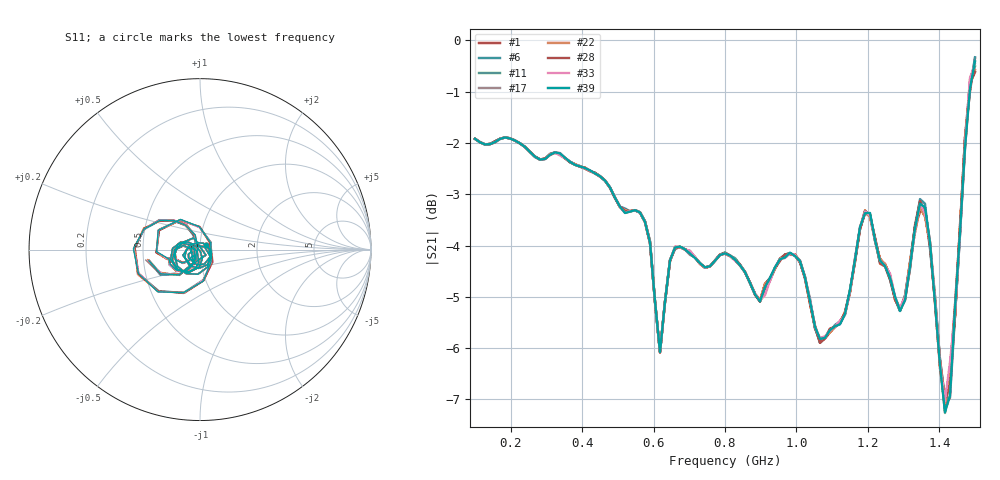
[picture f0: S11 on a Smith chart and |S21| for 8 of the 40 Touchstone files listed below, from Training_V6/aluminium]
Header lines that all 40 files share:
! NanoVNA-App
! Start: 100MHz Stop: 1,5GHz Points: 101
! S-Parameter data: F S11 S21 S12 S22
# Hz S RI R 50
!  Frequency  S11_Real  S11_Imag  S21_Real  S21_Imag  S12_Real  S12_Imag  S22_Real  S22_Imag
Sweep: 100 MHz to 1.5 GHz
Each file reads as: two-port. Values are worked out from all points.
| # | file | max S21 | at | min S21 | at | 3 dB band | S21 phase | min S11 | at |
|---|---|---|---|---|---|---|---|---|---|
| 1 | aluminium (401).s2p | -0.35 dB | 1.5 GHz | -7.0 dB | 1.416 GHz | 100 MHz-548 MHz | 127 deg at 800 MHz | -38.6 dB | 870 MHz |
| 2 | aluminium (402).s2p | -0.57 dB | 1.5 GHz | -7.2 dB | 1.416 GHz | 100 MHz-576 MHz | 127 deg at 800 MHz | -39.2 dB | 870 MHz |
| 3 | aluminium (403).s2p | -0.37 dB | 1.5 GHz | -7.2 dB | 1.416 GHz | 100 MHz-562 MHz | 127 deg at 800 MHz | -39.0 dB | 870 MHz |
| 4 | aluminium (404).s2p | -0.51 dB | 1.5 GHz | -7.2 dB | 1.416 GHz | 100 MHz-562 MHz | 127 deg at 800 MHz | -39.2 dB | 870 MHz |
| 5 | aluminium (405).s2p | -0.42 dB | 1.5 GHz | -7.0 dB | 1.416 GHz | 100 MHz-562 MHz | 127 deg at 800 MHz | -39.0 dB | 870 MHz |
| 6 | aluminium (406).s2p | -0.33 dB | 1.5 GHz | -7.0 dB | 1.416 GHz | 100 MHz-520 MHz | 127 deg at 800 MHz | -39.1 dB | 870 MHz |
| 7 | aluminium (407).s2p | -0.37 dB | 1.5 GHz | -7.1 dB | 1.416 GHz | 100 MHz-562 MHz | 127 deg at 800 MHz | -39.1 dB | 870 MHz |
| 8 | aluminium (408).s2p | -0.37 dB | 1.5 GHz | -7.0 dB | 1.416 GHz | 100 MHz-562 MHz | 127 deg at 800 MHz | -39.2 dB | 870 MHz |
| 9 | aluminium (409).s2p | -0.56 dB | 1.5 GHz | -7.1 dB | 1.416 GHz | 100 MHz-576 MHz | 127 deg at 800 MHz | -38.7 dB | 870 MHz |
| 10 | aluminium (410).s2p | -0.51 dB | 1.5 GHz | -7.1 dB | 1.416 GHz | 100 MHz-562 MHz | 127 deg at 800 MHz | -39.8 dB | 1.444 GHz |
| 11 | aluminium (411).s2p | -0.51 dB | 1.5 GHz | -7.3 dB | 1.416 GHz | 100 MHz-562 MHz | 127 deg at 800 MHz | -39.0 dB | 870 MHz |
| 12 | aluminium (412).s2p | -0.65 dB | 1.5 GHz | -7.1 dB | 1.416 GHz | 100 MHz-576 MHz | 127 deg at 800 MHz | -39.1 dB | 870 MHz |
| 13 | aluminium (413).s2p | -0.56 dB | 1.5 GHz | -7.0 dB | 1.416 GHz | 100 MHz-576 MHz | 127 deg at 800 MHz | -39.0 dB | 870 MHz |
| 14 | aluminium (414).s2p | -0.67 dB | 1.5 GHz | -7.0 dB | 1.43 GHz | 100 MHz-576 MHz | 127 deg at 800 MHz | -38.5 dB | 870 MHz |
| 15 | aluminium (415).s2p | -0.44 dB | 1.5 GHz | -7.0 dB | 1.416 GHz | 100 MHz-562 MHz | 127 deg at 800 MHz | -39.0 dB | 870 MHz |
| 16 | aluminium (416).s2p | -0.49 dB | 1.5 GHz | -7.1 dB | 1.416 GHz | 100 MHz-562 MHz | 127 deg at 800 MHz | -39.3 dB | 870 MHz |
| 17 | aluminium (417).s2p | -0.62 dB | 1.5 GHz | -7.1 dB | 1.416 GHz | 100 MHz-576 MHz | 127 deg at 800 MHz | -38.8 dB | 870 MHz |
| 18 | aluminium (418).s2p | -0.64 dB | 1.5 GHz | -7.1 dB | 1.416 GHz | 100 MHz-576 MHz | 127 deg at 800 MHz | -41.2 dB | 1.444 GHz |
| 19 | aluminium (419).s2p | -0.56 dB | 1.5 GHz | -7.1 dB | 1.416 GHz | 100 MHz-576 MHz | 127 deg at 800 MHz | -39.3 dB | 1.444 GHz |
| 20 | aluminium (420).s2p | -0.48 dB | 1.5 GHz | -7.1 dB | 1.416 GHz | 100 MHz-562 MHz | 127 deg at 800 MHz | -39.3 dB | 870 MHz |
| 21 | aluminium (421).s2p | -0.60 dB | 1.5 GHz | -7.1 dB | 1.416 GHz | 100 MHz-576 MHz | 127 deg at 800 MHz | -38.9 dB | 870 MHz |
| 22 | aluminium (422).s2p | -0.58 dB | 1.5 GHz | -7.1 dB | 1.416 GHz | 100 MHz-576 MHz | 127 deg at 800 MHz | -38.8 dB | 870 MHz |
| 23 | aluminium (423).s2p | -0.38 dB | 1.5 GHz | -7.5 dB | 1.43 GHz | 100 MHz-562 MHz | 127 deg at 800 MHz | -39.1 dB | 870 MHz |
| 24 | aluminium (424).s2p | -0.60 dB | 1.5 GHz | -7.1 dB | 1.416 GHz | 100 MHz-576 MHz | 127 deg at 800 MHz | -38.8 dB | 870 MHz |
| 25 | aluminium (425).s2p | -0.46 dB | 1.5 GHz | -7.2 dB | 1.416 GHz | 100 MHz-562 MHz | 127 deg at 800 MHz | -38.8 dB | 870 MHz |
| 26 | aluminium (426).s2p | -0.54 dB | 1.5 GHz | -7.0 dB | 1.416 GHz | 100 MHz-576 MHz | 127 deg at 800 MHz | -38.8 dB | 870 MHz |
| 27 | aluminium (427).s2p | -0.56 dB | 1.5 GHz | -7.2 dB | 1.416 GHz | 100 MHz-576 MHz | 127 deg at 800 MHz | -39.2 dB | 870 MHz |
| 28 | aluminium (428).s2p | -0.62 dB | 1.5 GHz | -7.0 dB | 1.416 GHz | 100 MHz-576 MHz | 127 deg at 800 MHz | -38.9 dB | 870 MHz |
| 29 | aluminium (429).s2p | -0.38 dB | 1.5 GHz | -7.0 dB | 1.416 GHz | 100 MHz-562 MHz | 127 deg at 800 MHz | -38.7 dB | 870 MHz |
| 30 | aluminium (430).s2p | -0.61 dB | 1.5 GHz | -7.2 dB | 1.416 GHz | 100 MHz-576 MHz | 127 deg at 800 MHz | -38.6 dB | 870 MHz |
| 31 | aluminium (431).s2p | -0.51 dB | 1.5 GHz | -7.1 dB | 1.416 GHz | 100 MHz-562 MHz | 127 deg at 800 MHz | -38.7 dB | 870 MHz |
| 32 | aluminium (432).s2p | -0.51 dB | 1.5 GHz | -7.1 dB | 1.416 GHz | 100 MHz-562 MHz | 127 deg at 800 MHz | -39.2 dB | 870 MHz |
| 33 | aluminium (433).s2p | -0.46 dB | 1.5 GHz | -7.0 dB | 1.416 GHz | 100 MHz-562 MHz | 127 deg at 800 MHz | -39.0 dB | 870 MHz |
| 34 | aluminium (434).s2p | -0.52 dB | 1.5 GHz | -7.2 dB | 1.416 GHz | 100 MHz-562 MHz | 127 deg at 800 MHz | -39.2 dB | 870 MHz |
| 35 | aluminium (435).s2p | -0.56 dB | 1.5 GHz | -7.1 dB | 1.416 GHz | 100 MHz-576 MHz | 127 deg at 800 MHz | -39.2 dB | 870 MHz |
| 36 | aluminium (436).s2p | -0.35 dB | 1.5 GHz | -7.2 dB | 1.416 GHz | 100 MHz-548 MHz | 127 deg at 800 MHz | -39.0 dB | 870 MHz |
| 37 | aluminium (437).s2p | -0.61 dB | 1.5 GHz | -7.1 dB | 1.416 GHz | 100 MHz-576 MHz | 127 deg at 800 MHz | -38.7 dB | 870 MHz |
| 38 | aluminium (438).s2p | -0.37 dB | 1.5 GHz | -7.0 dB | 1.416 GHz | 100 MHz-562 MHz | 127 deg at 800 MHz | -39.3 dB | 870 MHz |
| 39 | aluminium (439).s2p | -0.41 dB | 1.5 GHz | -7.2 dB | 1.416 GHz | 100 MHz-562 MHz | 127 deg at 800 MHz | -38.9 dB | 870 MHz |
| 40 | aluminium (440).s2p | -0.56 dB | 1.5 GHz | -7.1 dB | 1.416 GHz | 100 MHz-576 MHz | 127 deg at 800 MHz | -38.7 dB | 870 MHz |
